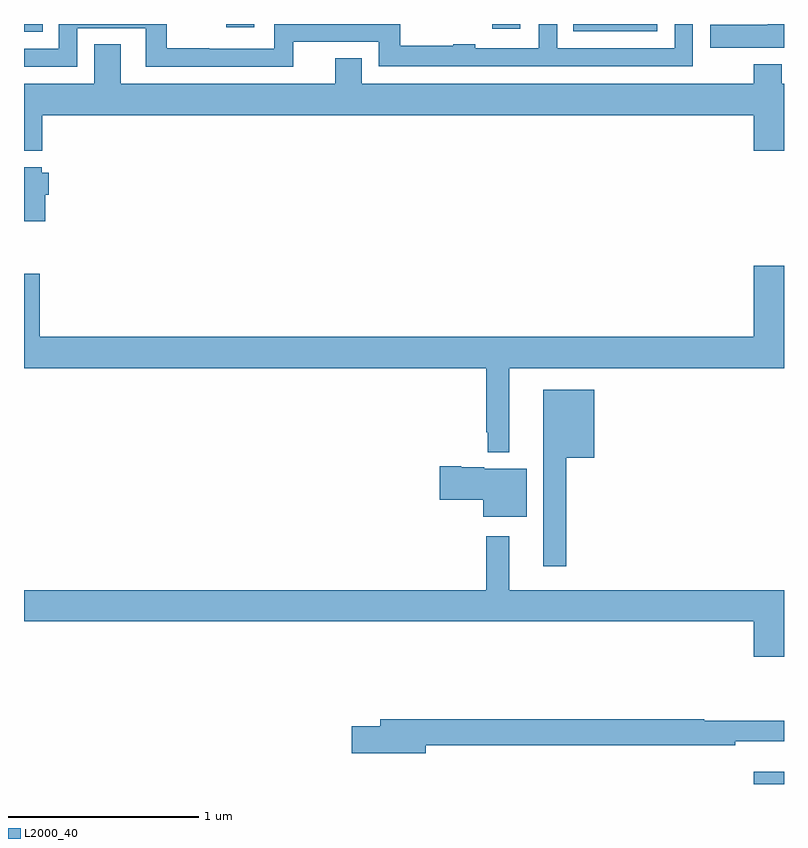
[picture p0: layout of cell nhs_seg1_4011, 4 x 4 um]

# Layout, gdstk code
import gdstk
lib = gdstk.Library(unit=1e-6, precision=1e-09)
def R(c, l, rs):  # rectangles x0, y0, x1, y1
    for r in rs: c.add(gdstk.rectangle(r[:2], r[2:], *l))
def P(c, l, *ps):  # polygons
    for p in ps: c.add(gdstk.Polygon(p, *l))
L2000_40 = (2000, 40)

nhs_seg1_4011 = lib.new_cell('nhs_seg1_4011')
R(nhs_seg1_4011, L2000_40, [(332.84,560.199,333,560.263), (329,564.158,329.099,564.199), (331.891,564.162,332.334,564.199), (331.465,564.174,331.612,564.199), (330.064,564.182,330.211,564.199)])
P(nhs_seg1_4011, L2000_40, [(329.28,564.177),(329.642,564.177),(329.642,563.973),(330.417,563.973),(330.417,564.105),(330.867,564.105),(330.867,563.976),(332.52,563.976),(332.52,564.199),(332.424,564.199),(332.424,564.072),(331.806,564.072),(331.806,564.199),(331.71,564.199),(331.71,564.072),(331.376,564.072),(331.376,564.092),(331.26,564.092),(331.26,564.085),(330.979,564.085),(330.979,564.199),(330.318,564.199),(330.318,564.069),(329.975,564.069),(329.975,564.072),(329.752,564.072),(329.752,564.199),(329.184,564.199),(329.184,564.069),(329,564.069),(329,563.973),(329.28,563.973)],
  [(333,564.199),(332.914,564.199),(332.914,564.196),(332.613,564.196),(332.613,564.074),(333,564.074)],
  [(329.096,563.72),(332.84,563.72),(332.84,563.532),(333,563.532),(333,563.884),(332.989,563.884),(332.989,563.986),(332.842,563.986),(332.842,563.884),(330.778,563.884),(330.778,564.02),(330.638,564.02),(330.638,563.884),(329.509,563.884),(329.509,564.092),(329.369,564.092),(329.369,563.884),(329,563.884),(329,563.531),(329.096,563.531)],
  [(329.111,563.301),(329.129,563.301),(329.129,563.415),(329.094,563.415),(329.094,563.446),(329,563.446),(329,563.16),(329.111,563.16)],
  [(331.555,562.388),(333,562.388),(333,562.927),(332.84,562.927),(332.84,562.552),(329.084,562.552),(329.084,562.885),(329,562.885),(329,562.388),(331.434,562.388),(331.434,562.051),(331.441,562.051),(331.441,561.944),(331.555,561.944)],
  [(331.855,561.917),(332.002,561.917),(332.002,562.273),(331.733,562.273),(331.733,561.345),(331.855,561.345)],
  [(331.645,561.859),(331.422,561.859),(331.422,561.865),(331.3,561.865),(331.3,561.872),(331.188,561.872),(331.188,561.694),(331.418,561.694),(331.418,561.605),(331.645,561.605)],
  [(333,561.22),(331.555,561.22),(331.555,561.502),(331.434,561.502),(331.434,561.22),(329,561.22),(329,561.056),(332.84,561.056),(332.84,560.868),(333,560.868)],
  [(331.114,560.404),(332.744,560.404),(332.744,560.423),(333,560.423),(333,560.533),(332.579,560.533),(332.579,560.54),(330.875,560.54),(330.875,560.504),(330.726,560.504),(330.726,560.362),(331.114,560.362)])

lib.write_gds('nhs_seg1_4011.gds')
